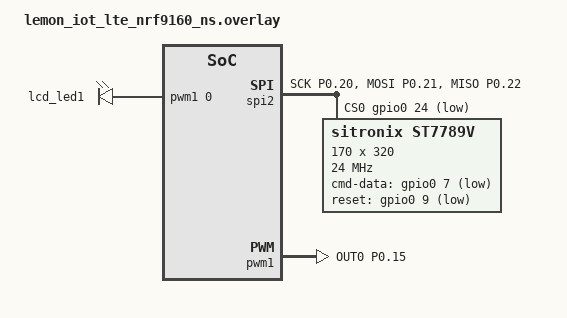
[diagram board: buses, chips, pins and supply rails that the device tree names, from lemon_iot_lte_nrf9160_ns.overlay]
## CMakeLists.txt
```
# SPDX-License-Identifier: Apache-2.0

cmake_minimum_required(VERSION 3.20.0)

find_package(Zephyr REQUIRED HINTS $ENV{ZEPHYR_BASE})
project(basicnetworking)

FILE(GLOB app_sources src/*.c)
target_sources(app PRIVATE ${app_sources})
```

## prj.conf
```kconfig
# Network
CONFIG_NETWORKING=y
CONFIG_NET_SOCKETS=y
CONFIG_NET_SOCKETS_POSIX_NAMES=y
CONFIG_NET_NATIVE=n
CONFIG_NET_IPV6=y
CONFIG_NET_IPV4=y

CONFIG_HEAP_MEM_POOL_SIZE=47250
CONFIG_MAIN_STACK_SIZE=4096
CONFIG_SYSTEM_WORKQUEUE_STACK_SIZE=4096

# Modem Library
CONFIG_NRF_MODEM_LIB=y

# Modem Information 
CONFIG_MODEM_INFO=y

CONFIG_MODEM_KEY_MGMT=y

# LTE Link Control
CONFIG_LTE_LINK_CONTROL=y
CONFIG_LTE_AUTO_INIT_AND_CONNECT=n

# NEWLIB C Library
CONFIG_NEWLIB_LIBC=y

# Date-Time Library
CONFIG_DATE_TIME=y
# Enables use of modem time
CONFIG_DATE_TIME_MODEM=y
# Trigger date-time update automatically when LTE is connected
CONFIG_DATE_TIME_AUTO_UPDATE=y
# Date time update interval, in seconds (Default 14400/4 hours). 
# Set to 0 to disable date-time updates.
#CONFIG_DATE_TIME_UPDATE_INTERVAL_SECONDS=3600

CONFIG_HTTP_CLIENT=y
CONFIG_CJSON_LIB=y
CONFIG_NEWLIB_LIBC_FLOAT_SCANF=y
CONFIG_NEWLIB_LIBC_FLOAT_PRINTF=y

# Display config
CONFIG_PWM=y
CONFIG_SPI=y
CONFIG_ST7789V=y
CONFIG_ST7789V_RGB565=y
CONFIG_DISPLAY=y

CONFIG_LVGL=y

# CONFIG_LV_USE_PERF_MONITOR=y
# CONFIG_LV_PERF_MONITOR_ALIGN_TOP_RIGHT=y
CONFIG_LV_Z_MEM_POOL_NUMBER_BLOCKS=8
CONFIG_LV_MEM_CUSTOM=y
CONFIG_LV_USE_LABEL=y
CONFIG_LV_FONT_MONTSERRAT_16=y
```

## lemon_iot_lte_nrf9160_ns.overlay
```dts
// To get started, press Ctrl+Space to bring up the completion menu and view the available nodes.

// You can also use the buttons in the sidebar to perform actions on nodes.
// Actions currently available include:

// * Enabling / disabling the node
// * Adding the bus to a bus
// * Removing the node
// * Connecting ADC channels

// For more help, browse the DeviceTree documentation at https://docs.zephyrproject.org/latest/guides/dts/index.html
// You can also visit the nRF DeviceTree extension documentation at https://nrfconnect.github.io/vscode-nrf-connect/devicetree/nrfdevicetree.html

/ {
	chosen {
		zephyr,display = &st7789v;
	};

	pwmleds {
		compatible = "pwm-leds";
		lcd_led1: lcd_led_1 {
			pwms = <&pwm1 0 PWM_MSEC(20) PWM_POLARITY_NORMAL>;
		};
	};

    aliases {
		lcd-led1 = &lcd_led1;
	};
};

&spi2 {
	compatible = "nordic,nrf-spim";
	status = "okay";
	cs-gpios = <&gpio0 24 GPIO_ACTIVE_LOW>;  /* D6 SD */

	pinctrl-0 = <&spi2_default>;
	pinctrl-1 = <&spi2_sleep>;
	pinctrl-names = "default", "sleep";


    st7789v: st7789v@0 {
		compatible = "sitronix,st7789v";
		label = "ST7789V";
		spi-max-frequency = <24000000>;
		reg = <0>;
		cmd-data-gpios = <&gpio0 7 GPIO_ACTIVE_LOW>;	/* D9 */
		reset-gpios = <&gpio0 9 GPIO_ACTIVE_LOW>;	/* D10 */
		width = <170>; // 170 for 90 degree, 320 for 0 degree
		height = <320>; // 320 for 90 degree, 170 for 0 degree
		x-offset = <35>; // 35 for 90 degree, 0 for 0 degree
		y-offset = <0>; // 0 for 90 degree, 35 for 0 degree
		vcom = <0x2b>;
		gctrl = <0x35>;
		vrhs = <0x0f>;
		vdvs = <0x20>;
		mdac = <0xC0>; // 0x00 for 90 degree, 0x60 for 0 degree
		gamma = <0x01>;
		colmod = <0x55>;
		lcm = <0x2c>;
		porch-param = [0c 0c 00 33 33];
		cmd2en-param = [5a 69 02 01];
		pwctrl1-param = [52 a1];
		pvgam-param = [D0 00 02 07 0B 1A 31 54 40 29 12 12 12 17];
		nvgam-param = [D0 00 02 07 05 15 2D 44 44 1C 18 16 1C 1D];
		ram-param = [00 F8];
		rgb-param = [CD 08 14];
	};
};

&pwm1 {
	status = "okay";
	pinctrl-0 = <&pwm1_default>;
	pinctrl-1 = <&pwm1_sleep>;
	pinctrl-names = "default", "sleep";
};

&pinctrl {   

	pwm1_default: pwm1_default {
		group1 {
			psels = <NRF_PSEL(PWM_OUT0, 0, 15)>;
		};
	};

	pwm1_sleep: pwm1_sleep {
		group1 {
			psels = <NRF_PSEL(PWM_OUT0, 0, 15)>;
		};
	};

	spi2_default: spi2_default {
		group1 {
			psels = <NRF_PSEL(SPIM_SCK, 0, 20)>,
				<NRF_PSEL(SPIM_MOSI, 0, 21)>,
				<NRF_PSEL(SPIM_MISO, 0, 22)>;
		};
	};

	spi2_sleep: spi2_sleep {
		group1 {
			psels = <NRF_PSEL(SPIM_SCK, 0, 20)>,
				<NRF_PSEL(SPIM_MOSI, 0, 21)>,
				<NRF_PSEL(SPIM_MISO, 0, 22)>;
			low-power-enable;
		};
	};
};
```

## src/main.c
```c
#include <zephyr/kernel.h>
#include <modem/lte_lc.h>
#include <modem/modem_info.h>
#include <date_time.h>
#include <zephyr/posix/time.h>
#include <zephyr/posix/sys/time.h>
#include "http_get.h"
#include "json_parser.h"

#include <zephyr/drivers/pwm.h>
#include <zephyr/drivers/display.h>
#include <zephyr/drivers/gpio.h>
#include <zephyr/device.h>
#include <zephyr/devicetree.h>
#include <lvgl.h>

static uint32_t count;

struct open_weather_api_return http_result;
int sock;
lv_obj_t *hello_world_label;

static const int pwm_fequency = 500; // in Hz
static float input_period = (float)(1.0 / pwm_fequency) * 1000000000.0;
static int pwm_duty_cycle = 80; // in percentage

static const struct pwm_dt_spec pwm_lcd_backlight = PWM_DT_SPEC_GET(DT_ALIAS(lcd_led1));

static struct gpio_dt_spec button_gpio = GPIO_DT_SPEC_GET_OR(
		DT_ALIAS(sw0), gpios, {0});
static struct gpio_callback button_callback;

/* Define thread stack size and priority*/
#define MY_STACK_SIZE 16384
#define MY_PRIORITY 5

K_THREAD_STACK_DEFINE(my_stack_area, MY_STACK_SIZE);

void data_work_handler(struct k_work *work);
K_WORK_DEFINE(data_action_work, data_work_handler);

struct k_work_q my_work_q;

void data_work_handler(struct k_work *work) {
  	char text[100];
	struct addrinfo *res;
	nslookup("api.openweathermap.org", &res);
	printk("Connecting to HTTP Server:\n");
    sock = connect_socket(&res);
    http_result = http_get(sock, "api.openweathermap.org", "/data/2.5/weather?q=Adelaide&appid=807031fe9f3e3282667deb969fbdff57&units=metric");
    zsock_close(sock);
    
    printf("Temperature: %f degree Celsius\nPressure: %d hPa\nHumidity: %d%%\n", http_result.temperature, http_result.pressure, http_result.humidity);
	sprintf(text, "Temperature: %.2f\nTime: %d", http_result.temperature, http_result.time);
	lv_label_set_text(hello_world_label, text);
}

static void button_isr_callback(const struct device *port,
				struct gpio_callback *cb,
				uint32_t pins)
{
	k_work_submit_to_queue(&my_work_q, &data_action_work); // call the breath and warning algorithm
	
	count = 0;
}

void print_modem_info(enum modem_info info)
{
	int len;
	char buf[80];

	switch (info) {
		case MODEM_INFO_RSRP:
			printk("Signal Strength: ");
			break;
		case MODEM_INFO_IP_ADDRESS:
			printk("IP Addr: ");
			break;
		case MODEM_INFO_FW_VERSION:
			printk("Modem FW Ver: ");
			break;
		case MODEM_INFO_ICCID:
			printk("SIM ICCID: ");
			break;
		case MODEM_INFO_IMSI:
			printk("IMSI: ");
			break;
		case MODEM_INFO_IMEI:
			printk("IMEI: ");
			break;
		case MODEM_INFO_DATE_TIME:
			printk("Network Date/Time: ");
			break;
		case MODEM_INFO_APN:
			printk("APN: ");
			break;
		default:
			printk("Unsupported: ");
			break;
	}

	len = modem_info_string_get(info, buf, 80);
	if (len > 0) {
		printk("%s\n",buf);
	} else {
		printk("Error\n");
	}
}

void main(void)
{
	int err;

	char count_str[11] = {0};	
	const struct device *display_dev;

	lv_obj_t *count_label;

	printk("\nnRF9160 Basic Networking Example (%s)\n", CONFIG_BOARD);

	if (!device_is_ready(pwm_lcd_backlight.dev)) {
		printk("Error: PWM device %s is not ready\n", pwm_lcd_backlight.dev->name);
		return;
	}	
	
    pwm_set_dt(&pwm_lcd_backlight, input_period, input_period*pwm_duty_cycle/100); 

	display_dev = DEVICE_DT_GET(DT_CHOSEN(zephyr_display));
	if (!device_is_ready(display_dev)) {
		printk("Device not ready, aborting test");
		return;
	}

	if (device_is_ready(button_gpio.port)) {
		err = gpio_pin_configure_dt(&button_gpio, GPIO_INPUT);
		if (err) {
			printk("failed to configure button gpio: %d", err);
			return;
		}

		gpio_init_callback(&button_callback, button_isr_callback,
				   BIT(button_gpio.pin));

		err = gpio_add_callback(button_gpio.port, &button_callback);
		if (err) {
			printk("failed to add button callback: %d", err);
			return;
		}

		err = gpio_pin_interrupt_configure_dt(&button_gpio,
						      GPIO_INT_EDGE_TO_ACTIVE);
		if (err) {
			printk("failed to enable button callback: %d", err);
			return;
		}
	}

	err = lte_lc_init();
	if (err) printk("MODEM: Failed initializing LTE Link controller, error: %d\n", err);

	err = lte_lc_func_mode_set(LTE_LC_FUNC_MODE_ACTIVATE_UICC);
	if (err) printk("MODEM: Failed enabling UICC power, error: %d\n", err);
	k_msleep(100);
	
	err = modem_info_init();
	if (err) printk("MODEM: Failed initializing modem info module, error: %d\n", err);

	print_modem_info(MODEM_INFO_FW_VERSION);
	print_modem_info(MODEM_INFO_IMEI);
	print_modem_info(MODEM_INFO_ICCID);

	printk("Waiting for network... ");
	err = lte_lc_init_and_connect();
	if (err) {
		printk("Failed to connect to the LTE network, err %d\n", err);
		return;
	}
	printk("OK\n");
	print_modem_info(MODEM_INFO_APN);
	print_modem_info(MODEM_INFO_IP_ADDRESS);
	print_modem_info(MODEM_INFO_RSRP);

	// struct addrinfo *res;
	// nslookup("api.openweathermap.org", &res);
	// print_addrinfo_results(&res);

	k_work_queue_init(&my_work_q);

    k_work_queue_start(&my_work_q, my_stack_area,
                      K_THREAD_STACK_SIZEOF(my_stack_area), MY_PRIORITY,
                      NULL);

	lv_disp_t * dispp = lv_disp_get_default();
    lv_theme_t * theme = lv_theme_default_init(dispp, lv_palette_main(LV_PALETTE_BLUE), lv_palette_main(LV_PALETTE_RED),
                                               true, LV_FONT_DEFAULT);
    lv_disp_set_theme(dispp, theme);
	
	hello_world_label = lv_label_create(lv_scr_act());
	
	lv_label_set_text(hello_world_label, "Hello world!\nWelcome to Lemon IoT");
	lv_obj_align(hello_world_label, LV_ALIGN_CENTER, 0, 0);

	count_label = lv_label_create(lv_scr_act());
	lv_obj_align(count_label, LV_ALIGN_BOTTOM_MID, 0, 0);

	lv_task_handler();
	display_blanking_off(display_dev);

	while (1) {
		if ((count % 100) == 0U) {
			sprintf(count_str, "%d", count/100U);
			lv_label_set_text(count_label, count_str);
		}
		lv_task_handler();
		++count;
		k_sleep(K_MSEC(10));
	}

}
```

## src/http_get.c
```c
#include <stdio.h>
#include <stdlib.h>
#include <zephyr/net/socket.h>
#include <zephyr/kernel.h>
#include <zephyr/net/http/client.h>
#include "json_parser.h"

void nslookup(const char * hostname, struct addrinfo **results)
{
	int err;
	
	struct addrinfo hints = {
		//.ai_family = AF_INET,     // Allow IPv4 Address
		.ai_family = AF_UNSPEC,		// Allow IPv4 or IPv6	
		.ai_socktype = SOCK_STREAM,
	};

	err = getaddrinfo(hostname, NULL, &hints, (struct zsock_addrinfo **) results);
	if (err) {
		printf("getaddrinfo() failed, err %d\n", errno);
		return;
	}
}

void print_addrinfo_results(struct addrinfo **results)
{
	char ipv4[INET_ADDRSTRLEN];
	char ipv6[INET6_ADDRSTRLEN];
	struct sockaddr_in *sa;
	struct sockaddr_in6 *sa6;
	struct addrinfo *rp;
	
	for (rp = (struct addrinfo *)results; rp != NULL; rp = rp->ai_next) {
		if (rp->ai_addr->sa_family == AF_INET) {
			// IPv4 Address
			sa = (struct sockaddr_in *) rp->ai_addr;
			inet_ntop(AF_INET, &sa->sin_addr, ipv4, INET_ADDRSTRLEN);
			printf("IPv4: %s\n", ipv4);
		}
		if (rp->ai_addr->sa_family == AF_INET6) {
			// IPv6 Address
			sa6 = (struct sockaddr_in6 *) rp->ai_addr;
			inet_ntop(AF_INET6, &sa6->sin6_addr, ipv6, INET6_ADDRSTRLEN);
			printf("IPv6: %s\n", ipv6);
		}
	}
}

int connect_socket(struct zsock_addrinfo **results)
{
	int sock;
	struct zsock_addrinfo *rp;
	struct sockaddr_in *sa;

	// Create Socket
	sock = zsock_socket(AF_INET6, SOCK_STREAM, IPPROTO_TCP);
	if (sock < 0) {
		printk("Error creating socket\n");
		return(-1);
	}
	
	// Iterate through until we get a successful connection
	for (rp = (struct zsock_addrinfo *)results; rp != NULL; rp = rp->ai_next) {
		if (rp->ai_addr->sa_family == AF_INET6) {
			// IPv4 Address
			sa = (struct sockaddr_in *) rp->ai_addr;
			sa->sin_port = htons(80);
			zsock_connect(sock, (struct sockaddr *) sa, sizeof(struct sockaddr_in));
			if (sock > 0)
				break;
		}
	}
	
	return(sock);
}

static void http_response_cb(struct http_response *rsp,
			enum http_final_call final_data,
			void *user_data)
{
	struct open_weather_api_return *ptr_http_result;
	ptr_http_result=(struct open_weather_api_return*)user_data;

	if (final_data == HTTP_DATA_MORE) {
		printk("Partial data received (%zd bytes)\n", rsp->data_len);
	} else if (final_data == HTTP_DATA_FINAL) {
		printk("All the data received (%zd bytes)\n", rsp->data_len);
		char *data = strstr( rsp->recv_buf, "\r\n\r\n" );
		if ( data != NULL )
		{ 
			data += 4;
			*ptr_http_result = get_temp_pressure_humidity(data);
		}
		
	}
	printk("%s\n",rsp->recv_buf);
	printk("Bytes Recv %zd\n", rsp->data_len);
	printk("Response status %s\n", rsp->http_status);
	printk("Recv Buffer Length %zd\n", rsp->recv_buf_len);	
}

struct open_weather_api_return http_get(int sock, char * hostname, char * url)
{
	struct http_request req = { 0 };
	static uint8_t recv_buf[1024];
	int ret;

	struct open_weather_api_return http_result;
	cJSON_Init();

	req.method = HTTP_GET;
	req.url = url;
	req.host = hostname;
	req.protocol = "HTTP/1.1";
	req.response = http_response_cb;
	req.recv_buf = recv_buf;
	req.recv_buf_len = sizeof(recv_buf);

	/* sock is a file descriptor referencing a socket that has been connected
	* to the HTTP server.
	*/
	ret = http_client_req(sock, &req, 5000, (void *)&http_result);

	return http_result;
}
```

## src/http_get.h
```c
#include <stdio.h>
#include <stdlib.h>
#include <zephyr/net/socket.h>

void nslookup(const char * hostname, struct addrinfo **results);
void print_addrinfo_results(struct addrinfo **results);
struct open_weather_api_return http_get(int sock, char * hostname, char * url);
int connect_socket(struct zsock_addrinfo **results);
```

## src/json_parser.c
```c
/* 
 * Copyright (c) 2023 Tai-Jie(Denny) Yun.
 * 
 * API Information:
 * https://docs.zephyrproject.org/3.2.0/connectivity/networking/api/http.html
 *
 * SPDX-License-Identifier: Apache-2.0
 */

#include "json_parser.h"

struct open_weather_api_return get_temp_pressure_humidity(const char *json_string)
{
    struct open_weather_api_return result;
	cJSON *root = cJSON_Parse(json_string);
    cJSON *main_obj = cJSON_GetObjectItemCaseSensitive(root, "main");

    float temp = cJSON_GetObjectItemCaseSensitive(main_obj, "temp")->valuedouble;
    int pressure = cJSON_GetObjectItemCaseSensitive(main_obj, "pressure")->valueint;
    int humidity = cJSON_GetObjectItemCaseSensitive(main_obj, "humidity")->valueint;

    int time = cJSON_GetObjectItemCaseSensitive(root, "dt")->valueint;;

    result.temperature=temp;
    result.pressure=pressure;
    result.humidity=humidity;

    result.time=time;
    
    cJSON_Delete(root);

    return result;
}
```

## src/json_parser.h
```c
#include "cJSON.h"
#include "cJSON_os.h"

struct open_weather_api_return {
    float temperature;
    int pressure;
    int humidity;
    int time;
};

struct open_weather_api_return get_temp_pressure_humidity(const char *json_string);
```
